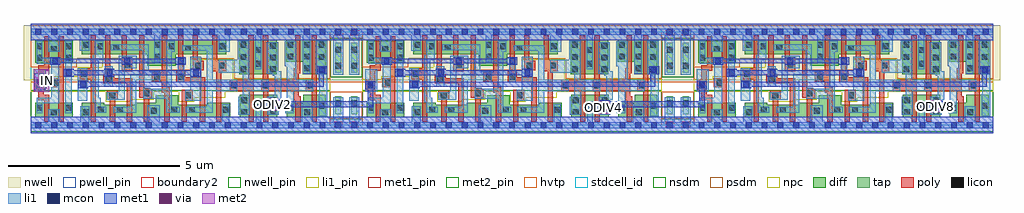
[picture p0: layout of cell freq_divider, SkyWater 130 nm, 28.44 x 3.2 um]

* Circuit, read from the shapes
.subckt freq_divider IN ODIV2 ODIV4 ODIV8 VGND VPB
XM1 VGND IN n1 VGND sky130_fd_pr__nfet_01v8 w=0.42 l=0.15
XM2 n2 n1 VGND VGND sky130_fd_pr__nfet_01v8 w=0.42 l=0.15
XM3 n3 sky130_fd_sc_hd__dfxbp_1_0/D VGND VGND sky130_fd_pr__nfet_01v8 w=0.42 l=0.15
XM4 n4 n1 n3 VGND sky130_fd_pr__nfet_01v8 w=0.36 l=0.15
XM5 n5 n2 n4 VGND sky130_fd_pr__nfet_01v8 w=0.36 l=0.15
XM6 VGND n6 n5 VGND sky130_fd_pr__nfet_01v8 w=0.42 l=0.15
XM7 n6 n4 VGND VGND sky130_fd_pr__nfet_01v8 w=0.64 l=0.15
XM8 n7 n2 n6 VGND sky130_fd_pr__nfet_01v8 w=0.36 l=0.15
XM9 n8 n1 n7 VGND sky130_fd_pr__nfet_01v8 w=0.36 l=0.15
XM10 VGND n9 n8 VGND sky130_fd_pr__nfet_01v8 w=0.42 l=0.15
XM11 VGND n7 n9 VGND sky130_fd_pr__nfet_01v8 w=0.65 l=0.15
XM12 ODIV2 n9 VGND VGND sky130_fd_pr__nfet_01v8 w=0.65 l=0.15
XM13 VGND n9 n10 VGND sky130_fd_pr__nfet_01v8 w=0.42 l=0.15
XM14 sky130_fd_sc_hd__dfxbp_1_0/D n10 VGND VGND sky130_fd_pr__nfet_01v8 w=0.65 l=0.15
XM15 VGND ODIV2 n11 VGND sky130_fd_pr__nfet_01v8 w=0.42 l=0.15
XM16 n12 n11 VGND VGND sky130_fd_pr__nfet_01v8 w=0.42 l=0.15
XM17 n13 sky130_fd_sc_hd__dfxbp_1_1/D VGND VGND sky130_fd_pr__nfet_01v8 w=0.42 l=0.15
XM18 n14 n11 n13 VGND sky130_fd_pr__nfet_01v8 w=0.36 l=0.15
XM19 n15 n12 n14 VGND sky130_fd_pr__nfet_01v8 w=0.36 l=0.15
XM20 VGND n16 n15 VGND sky130_fd_pr__nfet_01v8 w=0.42 l=0.15
XM21 n16 n14 VGND VGND sky130_fd_pr__nfet_01v8 w=0.64 l=0.15
XM22 n17 n12 n16 VGND sky130_fd_pr__nfet_01v8 w=0.36 l=0.15
XM23 n18 n11 n17 VGND sky130_fd_pr__nfet_01v8 w=0.36 l=0.15
XM24 VGND n19 n18 VGND sky130_fd_pr__nfet_01v8 w=0.42 l=0.15
XM25 VGND n17 n19 VGND sky130_fd_pr__nfet_01v8 w=0.65 l=0.15
XM26 ODIV4 n19 VGND VGND sky130_fd_pr__nfet_01v8 w=0.65 l=0.15
XM27 VGND n19 n20 VGND sky130_fd_pr__nfet_01v8 w=0.42 l=0.15
XM28 sky130_fd_sc_hd__dfxbp_1_1/D n20 VGND VGND sky130_fd_pr__nfet_01v8 w=0.65 l=0.15
XM29 VGND ODIV4 n21 VGND sky130_fd_pr__nfet_01v8 w=0.42 l=0.15
XM30 n22 n21 VGND VGND sky130_fd_pr__nfet_01v8 w=0.42 l=0.15
XM31 n23 sky130_fd_sc_hd__dfxbp_1_2/D VGND VGND sky130_fd_pr__nfet_01v8 w=0.42 l=0.15
XM32 n24 n21 n23 VGND sky130_fd_pr__nfet_01v8 w=0.36 l=0.15
XM33 n25 n22 n24 VGND sky130_fd_pr__nfet_01v8 w=0.36 l=0.15
XM34 VGND n26 n25 VGND sky130_fd_pr__nfet_01v8 w=0.42 l=0.15
XM35 n26 n24 VGND VGND sky130_fd_pr__nfet_01v8 w=0.64 l=0.15
XM36 n27 n22 n26 VGND sky130_fd_pr__nfet_01v8 w=0.36 l=0.15
XM37 n28 n21 n27 VGND sky130_fd_pr__nfet_01v8 w=0.36 l=0.15
XM38 VGND n29 n28 VGND sky130_fd_pr__nfet_01v8 w=0.42 l=0.15
XM39 VGND n27 n29 VGND sky130_fd_pr__nfet_01v8 w=0.65 l=0.15
XM40 ODIV8 n29 VGND VGND sky130_fd_pr__nfet_01v8 w=0.65 l=0.15
XM41 VGND n29 n30 VGND sky130_fd_pr__nfet_01v8 w=0.42 l=0.15
XM42 sky130_fd_sc_hd__dfxbp_1_2/D n30 VGND VGND sky130_fd_pr__nfet_01v8 w=0.65 l=0.15
XM43 VPB IN n1 VPB sky130_fd_pr__pfet_01v8_hvt w=0.64 l=0.15
XM44 n2 n1 VPB VPB sky130_fd_pr__pfet_01v8_hvt w=0.64 l=0.15
XM45 n3 sky130_fd_sc_hd__dfxbp_1_0/D VPB VPB sky130_fd_pr__pfet_01v8_hvt w=0.42 l=0.15
XM46 n4 n2 n3 VPB sky130_fd_pr__pfet_01v8_hvt w=0.42 l=0.15
XM47 n31 n1 n4 VPB sky130_fd_pr__pfet_01v8_hvt w=0.42 l=0.15
XM48 VPB n6 n31 VPB sky130_fd_pr__pfet_01v8_hvt w=0.42 l=0.15
XM49 n6 n4 VPB VPB sky130_fd_pr__pfet_01v8_hvt w=0.75 l=0.15
XM50 n7 n1 n6 VPB sky130_fd_pr__pfet_01v8_hvt w=0.42 l=0.15
XM51 n32 n2 n7 VPB sky130_fd_pr__pfet_01v8_hvt w=0.42 l=0.15
XM52 VPB n9 n32 VPB sky130_fd_pr__pfet_01v8_hvt w=0.42 l=0.15
XM53 VPB n7 n9 VPB sky130_fd_pr__pfet_01v8_hvt w=1 l=0.15
XM54 ODIV2 n9 VPB VPB sky130_fd_pr__pfet_01v8_hvt w=1 l=0.15
XM55 VPB n9 n10 VPB sky130_fd_pr__pfet_01v8_hvt w=0.64 l=0.15
XM56 sky130_fd_sc_hd__dfxbp_1_0/D n10 VPB VPB sky130_fd_pr__pfet_01v8_hvt w=1 l=0.15
XM57 VPB ODIV2 n11 VPB sky130_fd_pr__pfet_01v8_hvt w=0.64 l=0.15
XM58 n12 n11 VPB VPB sky130_fd_pr__pfet_01v8_hvt w=0.64 l=0.15
XM59 n13 sky130_fd_sc_hd__dfxbp_1_1/D VPB VPB sky130_fd_pr__pfet_01v8_hvt w=0.42 l=0.15
XM60 n14 n12 n13 VPB sky130_fd_pr__pfet_01v8_hvt w=0.42 l=0.15
XM61 n33 n11 n14 VPB sky130_fd_pr__pfet_01v8_hvt w=0.42 l=0.15
XM62 VPB n16 n33 VPB sky130_fd_pr__pfet_01v8_hvt w=0.42 l=0.15
XM63 n16 n14 VPB VPB sky130_fd_pr__pfet_01v8_hvt w=0.75 l=0.15
XM64 n17 n11 n16 VPB sky130_fd_pr__pfet_01v8_hvt w=0.42 l=0.15
XM65 n34 n12 n17 VPB sky130_fd_pr__pfet_01v8_hvt w=0.42 l=0.15
XM66 VPB n19 n34 VPB sky130_fd_pr__pfet_01v8_hvt w=0.42 l=0.15
XM67 VPB n17 n19 VPB sky130_fd_pr__pfet_01v8_hvt w=1 l=0.15
XM68 ODIV4 n19 VPB VPB sky130_fd_pr__pfet_01v8_hvt w=1 l=0.15
XM69 VPB n19 n20 VPB sky130_fd_pr__pfet_01v8_hvt w=0.64 l=0.15
XM70 sky130_fd_sc_hd__dfxbp_1_1/D n20 VPB VPB sky130_fd_pr__pfet_01v8_hvt w=1 l=0.15
XM71 VPB ODIV4 n21 VPB sky130_fd_pr__pfet_01v8_hvt w=0.64 l=0.15
XM72 n22 n21 VPB VPB sky130_fd_pr__pfet_01v8_hvt w=0.64 l=0.15
XM73 n23 sky130_fd_sc_hd__dfxbp_1_2/D VPB VPB sky130_fd_pr__pfet_01v8_hvt w=0.42 l=0.15
XM74 n24 n22 n23 VPB sky130_fd_pr__pfet_01v8_hvt w=0.42 l=0.15
XM75 n35 n21 n24 VPB sky130_fd_pr__pfet_01v8_hvt w=0.42 l=0.15
XM76 VPB n26 n35 VPB sky130_fd_pr__pfet_01v8_hvt w=0.42 l=0.15
XM77 n26 n24 VPB VPB sky130_fd_pr__pfet_01v8_hvt w=0.75 l=0.15
XM78 n27 n21 n26 VPB sky130_fd_pr__pfet_01v8_hvt w=0.42 l=0.15
XM79 n36 n22 n27 VPB sky130_fd_pr__pfet_01v8_hvt w=0.42 l=0.15
XM80 VPB n29 n36 VPB sky130_fd_pr__pfet_01v8_hvt w=0.42 l=0.15
XM81 VPB n27 n29 VPB sky130_fd_pr__pfet_01v8_hvt w=1 l=0.15
XM82 ODIV8 n29 VPB VPB sky130_fd_pr__pfet_01v8_hvt w=1 l=0.15
XM83 VPB n29 n30 VPB sky130_fd_pr__pfet_01v8_hvt w=0.64 l=0.15
XM84 sky130_fd_sc_hd__dfxbp_1_2/D n30 VPB VPB sky130_fd_pr__pfet_01v8_hvt w=1 l=0.15
.ends

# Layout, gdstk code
import gdstk
lib = gdstk.Library(unit=1e-6, precision=1e-09)
def R(c, l, rs):  # rectangles x0, y0, x1, y1
    for r in rs: c.add(gdstk.rectangle(r[:2], r[2:], *l))
def A(c, l, x, y, w, h, nx, ny, dx, dy):  # array of equal rectangles
    R(c, l, [(x+i*dx, y+j*dy, x+i*dx+w, y+j*dy+h) for i in range(nx) for j in range(ny)])
def P(c, l, *ps):  # polygons
    for p in ps: c.add(gdstk.Polygon(p, *l))
nwell_pin = (64, 16)
nwell = (64, 20)
diff = (65, 20)
tap = (65, 44)
poly = (66, 20)
licon = (66, 44)
li1_pin = (67, 16)
li1 = (67, 20)
mcon = (67, 44)
met1_pin = (68, 16)
met1 = (68, 20)
via = (68, 44)
met2_pin = (69, 16)
met2 = (69, 20)
hvtp = (78, 44)
stdcell_id = (81, 4)
nsdm = (93, 44)
psdm = (94, 20)
npc = (95, 20)
pwell_pin = (122, 16)
boundary2 = (236, 0)

sky130_fd_sc_hd__dfxbp_1 = lib.new_cell('sky130_fd_sc_hd__dfxbp_1')
R(sky130_fd_sc_hd__dfxbp_1, nwell_pin, [(0.145,2.635,0.315,2.805), (0.145,2.635,0.315,2.805)])
R(sky130_fd_sc_hd__dfxbp_1, nwell, [(-0.19,1.305,8.93,2.91)])
R(sky130_fd_sc_hd__dfxbp_1, diff, [(0.135,0.235,1.225,0.655), (6.1,0.235,7.19,0.885), (6.08,1.485,7.18,2.485), (0.135,1.815,1.225,2.455)])
P(sky130_fd_sc_hd__dfxbp_1, diff, [(7.46,0.235),(7.46,0.655),(7.945,0.655),(7.945,0.885),(8.605,0.885),(8.605,0.235)],
  [(7.935,1.485),(7.935,1.845),(7.45,1.845),(7.45,2.485),(8.605,2.485),(8.605,1.485)],
  [(1.495,0.235),(1.495,0.655),(2.155,0.655),(2.155,0.595),(3.055,0.595),(3.055,0.655),(3.65,0.655),(3.65,0.875),(4.3,0.875),(4.3,0.595),(5.16,0.595),(5.16,0.655),(5.82,0.655),(5.82,0.235)],
  [(3.395,1.735),(3.395,2.065),(1.495,2.065),(1.495,2.485),(5.71,2.485),(5.71,2.065),(4.23,2.065),(4.23,1.735)])
P(sky130_fd_sc_hd__dfxbp_1, poly, [(0.815,0.105),(0.815,1.1),(0.59,1.1),(0.59,1.37),(0.815,1.37),(0.815,2.585),(0.965,2.585),(0.965,0.105)],
  [(1.755,0.105),(1.755,1.335),(1.43,1.335),(1.43,1.665),(1.755,1.665),(1.755,2.615),(1.905,2.615),(1.905,0.105)],
  [(4.935,0.105),(4.935,1.245),(4.24,1.245),(4.24,1.575),(4.305,1.575),(4.305,2.615),(4.455,2.615),(4.455,1.575),(4.51,1.575),(4.51,1.395),(5.085,1.395),(5.085,0.105)],
  [(0.395,0.105),(0.395,0.73),(0.23,0.73),(0.23,0.995),(0.11,0.995),(0.11,1.325),(0.23,1.325),(0.23,1.74),(0.395,1.74),(0.395,2.585),(0.545,2.585),(0.545,1.59),(0.38,1.59),(0.38,0.88),(0.545,0.88),(0.545,0.105)],
  [(4.405,0.105),(4.405,1.035),(4.725,1.035),(4.725,0.705),(4.555,0.705),(4.555,0.105)],
  [(2.655,1.575),(2.655,2.615),(2.805,2.615),(2.805,1.905),(2.96,1.905),(2.96,1.575)],
  [(3.9,0.105),(3.9,0.95),(3.83,0.95),(3.83,1.275),(3.53,1.275),(3.53,1.545),(3.83,1.545),(3.83,2.615),(3.98,2.615),(3.98,1.1),(4.05,1.1),(4.05,0.105)],
  [(5.41,0.105),(5.41,1.575),(5.295,1.575),(5.295,2.615),(5.445,2.615),(5.445,1.905),(5.7,1.905),(5.7,1.575),(5.56,1.575),(5.56,0.105)],
  [(2.81,0.105),(2.81,1.215),(2.115,1.215),(2.115,1.485),(2.18,1.485),(2.18,2.615),(2.33,2.615),(2.33,1.485),(2.445,1.485),(2.445,1.365),(2.96,1.365),(2.96,0.105)],
  [(4.72,1.605),(4.72,1.875),(4.725,1.875),(4.725,2.615),(4.875,2.615),(4.875,1.875),(5.05,1.875),(5.05,1.605)],
  [(3.305,0.105),(3.305,0.795),(3.17,0.795),(3.17,2.615),(3.32,2.615),(3.32,1.065),(3.54,1.065),(3.54,0.795),(3.455,0.795),(3.455,0.105)],
  [(2.315,0.105),(2.315,0.735),(2.215,0.735),(2.215,1.005),(2.545,1.005),(2.545,0.735),(2.465,0.735),(2.465,0.105)],
  [(6.36,0.105),(6.36,0.995),(5.8,0.995),(5.8,1.325),(6.35,1.325),(6.35,2.615),(6.5,2.615),(6.5,1.325),(6.51,1.325),(6.51,0.105)],
  [(8.195,0.105),(8.195,0.995),(8.025,0.995),(8.025,1.325),(8.195,1.325),(8.195,2.615),(8.345,2.615),(8.345,0.105)],
  [(6.78,0.105),(6.78,0.995),(6.72,0.995),(6.72,1.325),(6.77,1.325),(6.77,2.615),(6.92,2.615),(6.92,1.325),(7.665,1.325),(7.665,1.665),(7.71,1.665),(7.71,2.615),(7.86,2.615),(7.86,1.515),(7.815,1.515),(7.815,0.85),(7.87,0.85),(7.87,0.105),(7.72,0.105),(7.72,0.73),(7.665,0.73),(7.665,0.995),(6.93,0.995),(6.93,0.105)])
A(sky130_fd_sc_hd__dfxbp_1, licon, 6.12, 1.545, 0.17, 0.17, 1, 3, 0, 0.355)
A(sky130_fd_sc_hd__dfxbp_1, licon, 6.97, 1.545, 0.17, 0.17, 1, 3, 0, 0.34)
A(sky130_fd_sc_hd__dfxbp_1, licon, 8.395, 1.545, 0.17, 0.17, 1, 3, 0, 0.355)
A(sky130_fd_sc_hd__dfxbp_1, licon, 7.975, 1.575, 0.17, 0.17, 1, 3, 0, 0.34)
R(sky130_fd_sc_hd__dfxbp_1, licon, [(0.595,0.295,0.765,0.465), (1.535,0.295,1.705,0.465), (7.975,0.295,8.145,0.465), (6.14,0.3,6.31,0.47), (6.98,0.31,7.15,0.48), (3.51,0.335,3.68,0.505), (1.96,0.365,2.13,0.535), (2.515,0.365,2.685,0.535), (4.105,0.365,4.275,0.535), (4.62,0.365,4.79,0.535), (5.61,0.365,5.78,0.535), (0.175,0.425,0.345,0.595), (1.015,0.425,1.185,0.595), (7.5,0.425,7.67,0.595), (6.56,0.445,6.73,0.615), (8.395,0.485,8.565,0.655), (6.14,0.64,6.31,0.81), (6.98,0.65,7.15,0.82), (2.295,0.785,2.465,0.955), (4.505,0.785,4.675,0.955), (3.29,0.845,3.46,1.015), (0.16,1.075,0.33,1.245), (5.85,1.075,6.02,1.245), (6.77,1.075,6.94,1.245), (8.075,1.075,8.245,1.245), (0.67,1.15,0.84,1.32), (2.195,1.265,2.365,1.435), (3.61,1.325,3.78,1.495), (4.29,1.325,4.46,1.495), (1.48,1.415,1.65,1.585), (2.74,1.655,2.91,1.825), (4.8,1.655,4.97,1.825), (5.48,1.655,5.65,1.825), (6.55,1.705,6.72,1.875), (0.175,1.875,0.345,2.045), (1.015,1.875,1.185,2.045), (3.61,1.915,3.78,2.085), (7.49,1.915,7.66,2.085), (6.55,2.105,6.72,2.275), (0.595,2.135,0.765,2.305), (4.505,2.165,4.675,2.335), (2.415,2.19,2.585,2.36), (0.175,2.215,0.345,2.385), (1.015,2.215,1.185,2.385), (1.955,2.215,2.125,2.385), (4.03,2.215,4.2,2.385), (5.5,2.215,5.67,2.385), (1.535,2.255,1.705,2.425), (3.61,2.255,3.78,2.425), (7.49,2.255,7.66,2.425)])
R(sky130_fd_sc_hd__dfxbp_1, li1_pin, [(6.95,0.425,7.12,0.595), (0.145,1.105,0.315,1.275), (1.445,1.105,1.615,1.275), (8.425,1.52,8.595,1.69)])
R(sky130_fd_sc_hd__dfxbp_1, li1, [(1.015,0.345,1.2,2.465), (1.37,0.715,1.65,1.665), (0.09,0.975,0.44,1.625), (2.16,1.125,2.4,1.72), (4.29,1.245,4.48,1.965)])
P(sky130_fd_sc_hd__dfxbp_1, li1, [(7.93,1.495),(7.93,2.635),(6.72,2.635),(6.72,1.625),(6.55,1.625),(6.55,2.635),(5.805,2.635),(5.805,2.135),(5.49,2.135),(5.49,2.635),(3.78,2.635),(3.78,1.835),(3.61,1.835),(3.61,2.635),(1.705,2.635),(1.705,2.175),(1.44,2.175),(1.44,2.635),(0.845,2.635),(0.845,2.135),(0.515,2.135),(0.515,2.635),(0,2.635),(0,2.805),(8.74,2.805),(8.74,2.635),(8.145,2.635),(8.145,1.495)],
  [(6.06,0.3),(6.06,0.825),(6.19,0.825),(6.19,1.53),(5.48,1.53),(5.48,1.905),(6.04,1.905),(6.04,2.465),(6.38,2.465),(6.38,1.325),(6.94,1.325),(6.94,0.995),(6.39,0.995),(6.39,0.3)],
  [(4.525,0.365),(4.525,0.535),(5.14,0.535),(5.14,2.165),(4.425,2.165),(4.425,2.335),(5.31,2.335),(5.31,1.325),(6.02,1.325),(6.02,0.995),(5.31,0.995),(5.31,0.365)],
  [(0,-0.085),(0,0.085),(0.515,0.085),(0.515,0.465),(0.845,0.465),(0.845,0.085),(1.455,0.085),(1.455,0.545),(1.705,0.545),(1.705,0.085),(3.4,0.085),(3.4,0.585),(3.77,0.585),(3.77,0.085),(5.585,0.085),(5.585,0.615),(5.795,0.615),(5.795,0.085),(6.56,0.085),(6.56,0.695),(6.73,0.695),(6.73,0.085),(7.905,0.085),(7.905,0.545),(8.225,0.545),(8.225,0.085),(8.74,0.085),(8.74,-0.085)],
  [(4.505,0.705),(4.505,1.035),(4.65,1.035),(4.65,1.995),(4.97,1.995),(4.97,0.705)],
  [(8.395,0.255),(8.395,0.91),(8.415,0.91),(8.415,1.48),(8.315,1.48),(8.315,2.465),(8.65,2.465),(8.65,0.255)],
  [(7.42,0.345),(7.42,0.615),(7.47,0.615),(7.47,1.715),(7.41,1.715),(7.41,2.445),(7.74,2.445),(7.74,1.325),(8.245,1.325),(8.245,0.995),(7.67,0.995),(7.67,0.345)],
  [(3.95,0.365),(3.95,0.765),(3.29,0.765),(3.29,1.095),(3.49,1.095),(3.49,1.065),(3.95,1.065),(3.95,2.465),(4.2,2.465),(4.2,2.135),(4.12,2.135),(4.12,0.535),(4.355,0.535),(4.355,0.365)],
  [(2.405,0.365),(2.405,0.535),(2.91,0.535),(2.91,1.485),(3.27,1.485),(3.27,2.19),(2.335,2.19),(2.335,2.36),(3.44,2.36),(3.44,1.575),(3.78,1.575),(3.78,1.245),(3.61,1.245),(3.61,1.315),(3.08,1.315),(3.08,0.365)],
  [(6.9,0.305),(6.9,0.825),(7.055,0.825),(7.055,0.865),(7.11,0.865),(7.11,1.445),(7.065,1.445),(7.065,1.495),(6.89,1.495),(6.89,2.42),(7.22,2.42),(7.22,1.575),(7.3,1.575),(7.3,0.74),(7.23,0.74),(7.23,0.305)],
  [(2.215,0.735),(2.215,0.955),(2.57,0.955),(2.57,2.02),(3.1,2.02),(3.1,1.655),(2.74,1.655),(2.74,0.735)],
  [(1.875,0.365),(1.875,0.675),(1.82,0.675),(1.82,2.04),(1.875,2.04),(1.875,2.465),(2.125,2.465),(2.125,1.91),(1.99,1.91),(1.99,0.805),(2.045,0.805),(2.045,0.535),(2.21,0.535),(2.21,0.365)],
  [(0.175,0.345),(0.175,0.805),(0.61,0.805),(0.61,1.795),(0.175,1.795),(0.175,2.465),(0.345,2.465),(0.345,1.965),(0.84,1.965),(0.84,0.635),(0.345,0.635),(0.345,0.345)])
A(sky130_fd_sc_hd__dfxbp_1, mcon, 0.145, -0.085, 0.17, 0.17, 19, 2, 0.46, 2.72)
R(sky130_fd_sc_hd__dfxbp_1, mcon, [(1.025,1.445,1.195,1.615), (2.215,1.445,2.385,1.615), (4.735,1.445,4.905,1.615), (0.63,1.785,0.8,1.955), (2.73,1.785,2.9,1.955), (4.3,1.785,4.47,1.955)])
R(sky130_fd_sc_hd__dfxbp_1, met1_pin, [(0.145,-0.085,0.315,0.085), (0.145,2.635,0.315,2.805)])
P(sky130_fd_sc_hd__dfxbp_1, met1, [(0.57,1.755),(0.57,1.985),(0.86,1.985),(0.86,1.94),(2.67,1.94),(2.67,1.985),(2.96,1.985),(2.96,1.94),(4.24,1.94),(4.24,1.985),(4.53,1.985),(4.53,1.755),(4.24,1.755),(4.24,1.8),(2.96,1.8),(2.96,1.755),(2.67,1.755),(2.67,1.8),(0.86,1.8),(0.86,1.755)],
  [(0.965,1.415),(0.965,1.645),(1.255,1.645),(1.255,1.6),(2.155,1.6),(2.155,1.645),(2.445,1.645),(2.445,1.6),(4.675,1.6),(4.675,1.645),(4.965,1.645),(4.965,1.415),(4.675,1.415),(4.675,1.46),(2.445,1.46),(2.445,1.415),(2.155,1.415),(2.155,1.46),(1.255,1.46),(1.255,1.415)])
R(sky130_fd_sc_hd__dfxbp_1, hvtp, [(0,1.25,8.74,2.72)])
R(sky130_fd_sc_hd__dfxbp_1, stdcell_id, [(0,0,8.74,2.72)])
R(sky130_fd_sc_hd__dfxbp_1, nsdm, [(0,-0.19,8.74,1.015)])
P(sky130_fd_sc_hd__dfxbp_1, psdm, [(5.93,1.355),(5.93,1.935),(4.665,1.935),(4.665,1.605),(3.24,1.605),(3.24,1.935),(1.35,1.935),(1.35,1.685),(0,1.685),(0,2.91),(8.74,2.91),(8.74,1.355)])
P(sky130_fd_sc_hd__dfxbp_1, npc, [(2.195,0.685),(2.195,0.975),(0,0.975),(0,1.345),(0.565,1.345),(0.565,1.42),(1.38,1.42),(1.38,1.685),(2.095,1.685),(2.095,1.925),(3.085,1.925),(3.085,1.595),(4.675,1.595),(4.675,1.925),(5.91,1.925),(5.91,1.345),(8.74,1.345),(8.74,0.975),(5.675,0.975),(5.675,0.795),(4.775,0.795),(4.775,0.685),(4.32,0.685),(4.32,0.975),(3.59,0.975),(3.59,0.745),(2.905,0.745),(2.905,0.685)])
R(sky130_fd_sc_hd__dfxbp_1, pwell_pin, [(0.145,-0.085,0.315,0.085), (0.145,-0.085,0.315,0.085)])
R(sky130_fd_sc_hd__dfxbp_1, boundary2, [(0,0,8.74,2.72)])
sky130_fd_sc_hd__dfxbp_1.add(gdstk.FlexPath([(0,0),(8.74,0)], 0.48, ends="flush", simple_path=True, layer=68, datatype=20))  # met1
sky130_fd_sc_hd__dfxbp_1.add(gdstk.FlexPath([(0,2.72),(8.74,2.72)], 0.48, ends="flush", simple_path=True, layer=68, datatype=20))  # met1
sky130_fd_sc_hd__dfxbp_1.add(gdstk.Label('VPWR', (0.23,2.72), layer=68, texttype=5))
sky130_fd_sc_hd__dfxbp_1.add(gdstk.Label('VGND', (0.23,0), layer=68, texttype=5))
sky130_fd_sc_hd__dfxbp_1.add(gdstk.Label('Q', (7.035,0.51), layer=67, texttype=5))
sky130_fd_sc_hd__dfxbp_1.add(gdstk.Label('CLK', (0.23,1.19), layer=67, texttype=5))
sky130_fd_sc_hd__dfxbp_1.add(gdstk.Label('D', (1.535,1.19), layer=67, texttype=5))
sky130_fd_sc_hd__dfxbp_1.add(gdstk.Label('Q_N', (8.52,1.61), layer=67, texttype=5))
sky130_fd_sc_hd__dfxbp_1.add(gdstk.Label('dfxbp_1', (0,0), layer=83, texttype=44))
sky130_fd_sc_hd__dfxbp_1.add(gdstk.Label('VNB', (0.23,0), layer=64, texttype=59))
sky130_fd_sc_hd__dfxbp_1.add(gdstk.Label('VNB', (0.23,0), layer=64, texttype=59))
sky130_fd_sc_hd__dfxbp_1.add(gdstk.Label('VPB', (0.23,2.72), layer=64, texttype=5))
sky130_fd_sc_hd__dfxbp_1.add(gdstk.Label('VPB', (0.23,2.72), layer=64, texttype=5))

sky130_fd_sc_hd__tapvpwr = lib.new_cell('sky130_fd_sc_hd__tapvpwrvgnd_1')
R(sky130_fd_sc_hd__tapvpwr, nwell, [(-0.19,1.305,0.65,2.91)])
R(sky130_fd_sc_hd__tapvpwr, tap, [(0.145,0.32,0.315,0.845), (0.145,1.525,0.315,2.4)])
R(sky130_fd_sc_hd__tapvpwr, licon, [(0.145,0.555,0.315,0.725), (0.145,1.645,0.315,1.815), (0.145,2.11,0.315,2.28)])
R(sky130_fd_sc_hd__tapvpwr, li1, [(0,-0.085,0.46,0.085), (0.085,0,0.375,0.81), (0.085,1.47,0.375,2.72), (0,2.635,0.46,2.805)])
R(sky130_fd_sc_hd__tapvpwr, mcon, [(0.145,-0.085,0.315,0.085), (0.145,2.635,0.315,2.805)])
R(sky130_fd_sc_hd__tapvpwr, met1_pin, [(0.105,-0.09,0.36,0.1), (0.11,2.62,0.375,2.765)])
R(sky130_fd_sc_hd__tapvpwr, met1, [(0,-0.24,0.46,0.24), (0,2.48,0.46,2.96)])
R(sky130_fd_sc_hd__tapvpwr, hvtp, [(0,1.25,0.46,2.72)])
R(sky130_fd_sc_hd__tapvpwr, stdcell_id, [(0,0,0.46,2.72)])
R(sky130_fd_sc_hd__tapvpwr, nsdm, [(0,-0.19,0.46,0.19), (0,1.395,0.46,2.53)])
R(sky130_fd_sc_hd__tapvpwr, psdm, [(0,0.19,0.46,0.975), (0,2.53,0.46,2.91)])
sky130_fd_sc_hd__tapvpwr.add(gdstk.Label('VGND', (0.23,0), layer=68, texttype=5))
sky130_fd_sc_hd__tapvpwr.add(gdstk.Label('VPWR', (0.23,2.72), layer=68, texttype=5))
sky130_fd_sc_hd__tapvpwr.add(gdstk.Label('tapvpwrvgnd_1', (0,0), layer=83, texttype=44))

freq_divider = lib.new_cell('freq_divider')
R(freq_divider, li1, [(45.73,0.66,46.04,0.92), (26.495,0.765,26.665,0.935), (36.155,0.765,36.325,0.935), (19.67,1.315,19.89,1.7), (29.33,1.315,29.5,1.485), (38.99,1.315,39.16,1.485), (20.96,1.34,21.13,1.51), (30.625,1.34,30.795,1.51), (40.28,1.34,40.45,1.51), (27.93,1.76,28.1,1.93), (37.595,1.76,37.765,1.93), (47.25,1.76,47.42,1.93)])
R(freq_divider, mcon, [(45.8,0.705,45.97,0.875), (26.495,0.765,26.665,0.935), (36.155,0.765,36.325,0.935), (29.33,1.315,29.5,1.485), (38.99,1.315,39.16,1.485), (20.96,1.34,21.13,1.51), (30.625,1.34,30.795,1.51), (40.28,1.34,40.45,1.51), (19.695,1.42,19.865,1.59), (27.93,1.76,28.1,1.93), (37.595,1.76,37.765,1.93), (47.25,1.76,47.42,1.93)])
R(freq_divider, met1, [(36.01,0.62,36.42,0.765), (45.67,0.63,46.1,0.95), (26.37,0.72,26.78,0.765), (26.37,0.765,29.5,0.935), (36.01,0.765,39.16,0.88), (36.095,0.88,39.16,0.935), (26.37,0.935,26.78,0.98), (29.33,0.935,29.5,1.285), (36.095,0.935,36.385,0.965), (38.99,0.935,39.16,1.285), (19.64,1.255,19.92,1.315), (29.27,1.285,29.56,1.515), (38.93,1.285,39.22,1.515), (20.9,1.31,21.19,1.36), (30.565,1.31,30.855,1.36), (40.22,1.31,40.51,1.36), (19.62,1.315,19.98,1.7), (20.9,1.36,28.05,1.5), (30.565,1.36,37.715,1.5), (40.22,1.36,47.37,1.5), (20.9,1.5,21.19,1.54), (27.91,1.5,28.05,1.73), (30.565,1.5,30.855,1.54), (37.575,1.5,37.715,1.73), (40.22,1.5,40.51,1.54), (47.23,1.5,47.37,1.73), (19.64,1.7,19.92,1.76), (27.87,1.73,28.16,1.96), (37.535,1.73,37.825,1.96), (47.19,1.73,47.48,1.96)])
R(freq_divider, via, [(36.14,0.675,36.29,0.825), (45.81,0.715,45.96,0.865), (26.5,0.775,26.65,0.925), (19.725,1.43,19.875,1.58)])
R(freq_divider, met2_pin, [(36.06,0.57,36.37,0.93), (45.73,0.66,46.04,0.92), (26.42,0.67,26.73,1.03), (19.93,1.215,20.06,1.87)])
R(freq_divider, met2, [(36.06,0.57,36.37,0.93), (45.73,0.61,46.04,0.97), (26.42,0.67,26.73,1.03), (19.6,1.215,20.06,1.87)])
freq_divider.add(gdstk.Reference(sky130_fd_sc_hd__dfxbp_1, (19.51,0.24)))
freq_divider.add(gdstk.Reference(sky130_fd_sc_hd__dfxbp_1, (29.17,0.24)))
freq_divider.add(gdstk.Reference(sky130_fd_sc_hd__dfxbp_1, (38.83,0.24)))
freq_divider.add(gdstk.Reference(sky130_fd_sc_hd__tapvpwr, (28.25,0.24)))
freq_divider.add(gdstk.Reference(sky130_fd_sc_hd__tapvpwr, (28.71,0.24)))
freq_divider.add(gdstk.Reference(sky130_fd_sc_hd__tapvpwr, (38.37,0.24)))
freq_divider.add(gdstk.Reference(sky130_fd_sc_hd__tapvpwr, (37.91,0.24)))
freq_divider.add(gdstk.Label('ODIV8', (45.885,0.79), layer=69, texttype=5))
freq_divider.add(gdstk.Label('ODIV4', (36.215,0.75), layer=69, texttype=5))
freq_divider.add(gdstk.Label('ODIV2', (26.575,0.85), layer=69, texttype=5))
freq_divider.add(gdstk.Label('IN', (19.995,1.542), layer=69, texttype=5))

lib.write_gds('freq_divider.gds')
